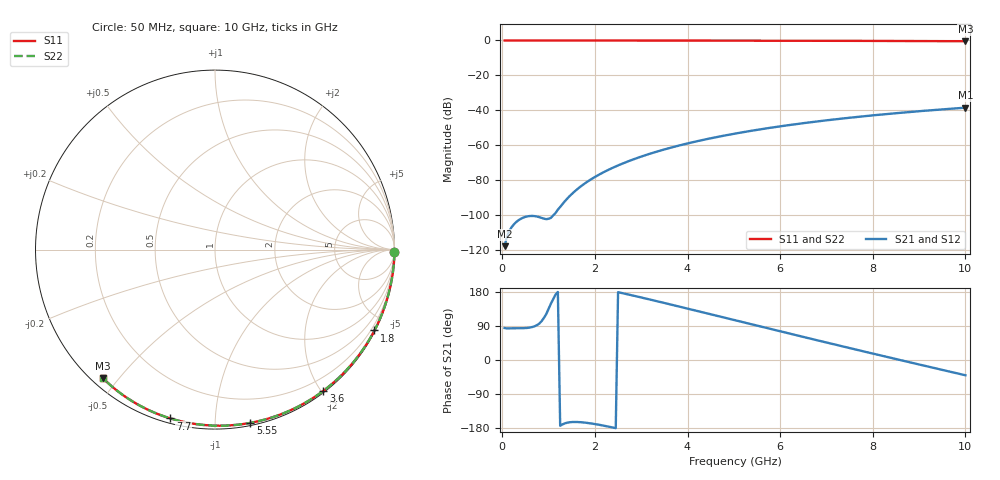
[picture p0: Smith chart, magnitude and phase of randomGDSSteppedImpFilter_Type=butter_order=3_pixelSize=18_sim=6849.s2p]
! freq	dB(S11)	phase(S11)	dB(S12)	phase(S12)
!  dB(S21)	phase(S21)	dB(S22)	phase(S22)
!S-par simulation data
#  GHz  S  DB  R 50
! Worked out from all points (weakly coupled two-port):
!   200 points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, 50 MHz to 10 GHz, reference 50 ohm
!   highest |S21| = -38.46 dB at 10 GHz (marker M1); lowest = -117.7 dB at 50 MHz (marker M2)
!   lowest |S11| = -0.4 dB at 10 GHz (marker M3), VSWR 39.22, Z = 1.54 - j22.7 ohm
!   |S11| at or under -10 dB: nowhere
!   |S22| runs from -0.4 to 0.0 dB; largest |S21 - S12| = 0
!   S11 on the Smith chart (normalised r, x): 50 MHz: open; 1.8 GHz: 0.04, -4.19; 3.6 GHz: 0.02, -2.03; 5.55 GHz: 0.02, -1.22; 7.7 GHz: 0.02, -0.77; 10 GHz: 0.03, -0.45
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0.05  -0.00 -0.8  -117.68 84.4  -117.68 84.4  -0.00 -0.8
0.9  -0.02 -13.6  -101.96 111.4  -101.96 111.4  -0.02 -13.6
1.75  -0.03 -26.1  -82.40 -164.7  -82.40 -164.7  -0.03 -26.1
1.8  -0.03 -26.9  -81.46 -165.4  -81.46 -165.4  -0.03 -26.9
1.85  -0.04 -27.6  -80.57 -166.2  -80.57 -166.2  -0.04 -27.6
1.9  -0.04 -28.3  -79.72 -167.1  -79.72 -167.1  -0.04 -28.3
2.05  -0.04 -30.5  -77.34 -170.1  -77.34 -170.1  -0.04 -30.5
2.25  -0.04 -33.4  -74.54 -174.7  -74.54 -174.7  -0.04 -33.4
2.45  -0.05 -36.3  -72.06 -179.8  -72.06 -179.8  -0.05 -36.3
2.65  -0.05 -39.2  -69.84 174.9  -69.84 174.9  -0.05 -39.2
3  -0.06 -44.2  -66.43 165.0  -66.43 165.0  -0.06 -44.2
3.4  -0.07 -49.8  -63.10 153.4  -63.10 153.4  -0.07 -49.8
3.6  -0.07 -52.5  -61.61 147.5  -61.61 147.5  -0.07 -52.5
4.3  -0.09 -62.1  -57.09 126.7  -57.09 126.7  -0.09 -62.1
5.05  -0.11 -72.0  -53.17 104.2  -53.17 104.2  -0.11 -72.0
5.55  -0.13 -78.5  -50.93 89.2  -50.93 89.2  -0.13 -78.5
6.1  -0.15 -85.4  -48.75 72.8  -48.75 72.8  -0.15 -85.4
6.7  -0.18 -92.8  -46.65 55.0  -46.65 55.0  -0.18 -92.8
7.7  -0.24 -104.8  -43.65 25.7  -43.65 25.7  -0.24 -104.8
8.35  -0.29 -112.4  -41.98 6.8  -41.98 6.8  -0.29 -112.4
9.15  -0.36 -121.5  -40.16 -16.1  -40.16 -16.1  -0.36 -121.5
10  -0.44 -131.1  -38.46 -40.3  -38.46 -40.3  -0.44 -131.1
